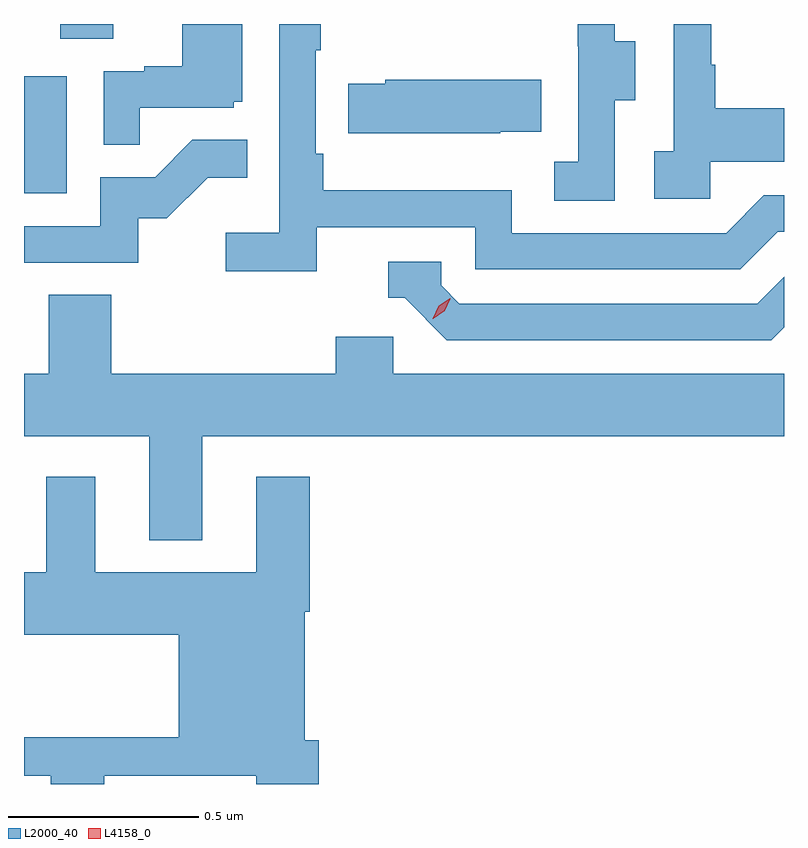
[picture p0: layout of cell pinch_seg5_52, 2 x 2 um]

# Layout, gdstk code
import gdstk
lib = gdstk.Library(unit=1e-6, precision=1e-09)
def R(c, l, rs):  # rectangles x0, y0, x1, y1
    for r in rs: c.add(gdstk.rectangle(r[:2], r[2:], *l))
def P(c, l, *ps):  # polygons
    for p in ps: c.add(gdstk.Polygon(p, *l))
L2000_40 = (2000, 40)
L4158_0 = (4158, 0)

pinch_seg5_52 = lib.new_cell('pinch_seg5_52')
R(pinch_seg5_52, L2000_40, [(1090.446,901.356,1090.558,901.663), (1090.541,901.762,1090.681,901.801)])
P(pinch_seg5_52, L2000_40, [(1092,901.6),(1092.055,901.6),(1092.055,901.755),(1092.001,901.755),(1092.001,901.801),(1091.903,901.801),(1091.903,901.743),(1091.904,901.743),(1091.904,901.439),(1091.841,901.439),(1091.841,901.336),(1092,901.336)],
  [(1092.252,901.439),(1092.446,901.439),(1092.446,901.579),(1092.265,901.579),(1092.265,901.694),(1092.255,901.694),(1092.255,901.801),(1092.156,901.801),(1092.156,901.466),(1092.105,901.466),(1092.105,901.341),(1092.252,901.341)],
  [(1091.216,901.266),(1091.634,901.266),(1091.634,901.155),(1092.331,901.155),(1092.43,901.254),(1092.446,901.254),(1092.446,901.35),(1092.393,901.35),(1092.294,901.251),(1091.73,901.251),(1091.73,901.363),(1091.234,901.363),(1091.234,901.459),(1091.214,901.459),(1091.214,901.732),(1091.227,901.732),(1091.227,901.801),(1091.118,901.801),(1091.118,901.252),(1090.977,901.252),(1090.977,901.15),(1091.216,901.15)],
  [(1090.751,901.581),(1090.998,901.581),(1090.998,901.596),(1091.02,901.596),(1091.02,901.801),(1090.862,901.801),(1090.862,901.69),(1090.763,901.69),(1090.763,901.677),(1090.656,901.677),(1090.656,901.483),(1090.751,901.483)],
  [(1091.699,901.517),(1091.807,901.517),(1091.807,901.654),(1091.397,901.654),(1091.397,901.644),(1091.299,901.644),(1091.299,901.514),(1091.699,901.514)],
  [(1090.746,901.29),(1090.822,901.29),(1090.929,901.397),(1091.033,901.397),(1091.033,901.496),(1090.889,901.496),(1090.791,901.398),(1090.647,901.398),(1090.647,901.269),(1090.446,901.269),(1090.446,901.173),(1090.746,901.173)],
  [(1092.446,901.003),(1092.446,901.136),(1092.375,901.065),(1091.592,901.065),(1091.544,901.113),(1091.544,901.176),(1091.405,901.176),(1091.405,901.08),(1091.448,901.08),(1091.559,900.969),(1092.412,900.969)],
  [(1090.915,900.716),(1092.446,900.716),(1092.446,900.88),(1091.418,900.88),(1091.418,900.978),(1091.267,900.978),(1091.267,900.88),(1090.676,900.88),(1090.676,901.088),(1090.511,901.088),(1090.511,900.88),(1090.446,900.88),(1090.446,900.716),(1090.775,900.716),(1090.775,900.443),(1090.915,900.443)],
  [(1090.657,899.823),(1091.057,899.823),(1091.057,899.801),(1091.222,899.801),(1091.222,899.916),(1091.185,899.916),(1091.185,900.254),(1091.198,900.254),(1091.198,900.61),(1091.057,900.61),(1091.057,900.358),(1090.633,900.358),(1090.633,900.61),(1090.505,900.61),(1090.505,900.358),(1090.446,900.358),(1090.446,900.194),(1090.853,900.194),(1090.853,899.924),(1090.446,899.924),(1090.446,899.823),(1090.517,899.823),(1090.517,899.801),(1090.657,899.801)])
P(pinch_seg5_52, L4158_0, [(1091.522,901.026),(1091.522,901.026),(1091.538,901.059),(1091.568,901.079),(1091.568,901.079),(1091.568,901.078),(1091.553,901.046),(1091.523,901.026)])

lib.write_gds('pinch_seg5_52.gds')
